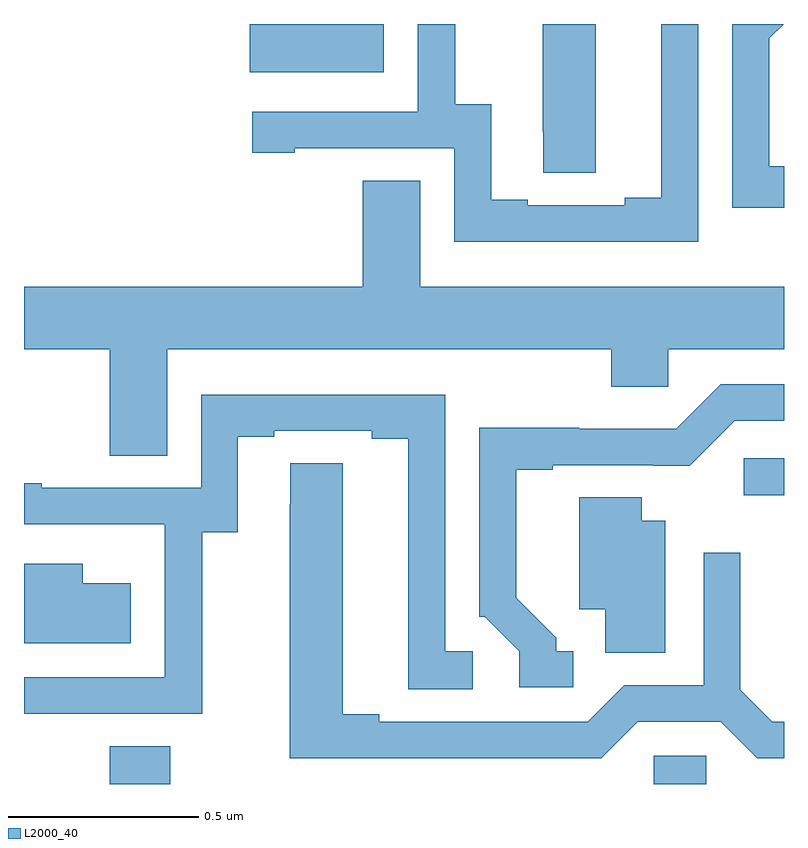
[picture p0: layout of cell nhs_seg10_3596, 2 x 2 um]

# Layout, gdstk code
import gdstk
lib = gdstk.Library(unit=1e-6, precision=1e-09)
def R(c, l, rs):  # rectangles x0, y0, x1, y1
    for r in rs: c.add(gdstk.rectangle(r[:2], r[2:], *l))
def P(c, l, *ps):  # polygons
    for p in ps: c.add(gdstk.Polygon(p, *l))
L2000_40 = (2000, 40)

nhs_seg10_3596 = lib.new_cell('nhs_seg10_3596')
R(nhs_seg10_3596, L2000_40, [(155.225,1304.5,155.385,1304.6), (156.657,1304.5,156.795,1304.574), (156.894,1305.26,157,1305.357), (155.594,1306.373,155.947,1306.5)])
P(nhs_seg10_3596, L2000_40, [(157,1306.126),(156.961,1306.126),(156.961,1306.462),(156.999,1306.5),(156.864,1306.5),(156.864,1306.016),(157,1306.016)],
  [(156.774,1306.5),(156.677,1306.5),(156.677,1306.043),(156.581,1306.043),(156.581,1306.023),(156.325,1306.023),(156.325,1306.038),(156.229,1306.038),(156.229,1306.289),(156.135,1306.289),(156.135,1306.5),(156.036,1306.5),(156.036,1306.269),(155.601,1306.269),(155.601,1306.161),(155.713,1306.161),(155.713,1306.173),(156.132,1306.173),(156.132,1305.927),(156.774,1305.927)],
  [(156.505,1306.5),(156.365,1306.5),(156.365,1306.216),(156.366,1306.216),(156.366,1306.108),(156.505,1306.108)],
  [(155.377,1305.644),(156.545,1305.644),(156.545,1305.546),(156.696,1305.546),(156.696,1305.644),(157,1305.644),(157,1305.808),(156.043,1305.808),(156.043,1306.088),(155.891,1306.088),(155.891,1305.808),(155,1305.808),(155,1305.644),(155.225,1305.644),(155.225,1305.364),(155.377,1305.364)],
  [(156.445,1304.85),(156.4,1304.85),(156.4,1304.885),(156.295,1304.99),(156.295,1305.327),(156.391,1305.327),(156.391,1305.339),(156.656,1305.339),(156.656,1305.338),(156.752,1305.338),(156.87,1305.456),(157,1305.456),(157,1305.552),(156.834,1305.552),(156.717,1305.435),(156.461,1305.435),(156.461,1305.437),(156.198,1305.437),(156.198,1304.94),(156.213,1304.94),(156.303,1304.85),(156.303,1304.754),(156.445,1304.754)],
  [(155.469,1305.163),(155.563,1305.163),(155.563,1305.414),(155.659,1305.414),(155.659,1305.429),(155.915,1305.429),(155.915,1305.409),(156.011,1305.409),(156.011,1304.749),(156.181,1304.749),(156.181,1304.85),(156.108,1304.85),(156.108,1305.525),(155.466,1305.525),(155.466,1305.279),(155.047,1305.279),(155.047,1305.292),(155,1305.292),(155,1305.183),(155.369,1305.183),(155.369,1305.182),(155.37,1305.182),(155.37,1304.781),(155,1304.781),(155,1304.685),(155.469,1304.685)],
  [(156.615,1304.664),(156.833,1304.664),(156.929,1304.568),(157,1304.568),(157,1304.664),(156.969,1304.664),(156.885,1304.748),(156.885,1305.109),(156.789,1305.109),(156.789,1304.76),(156.579,1304.76),(156.483,1304.664),(155.935,1304.664),(155.935,1304.684),(155.839,1304.684),(155.839,1305.344),(155.7,1305.344),(155.7,1305.236),(155.699,1305.236),(155.699,1304.568),(156.519,1304.568)],
  [(156.688,1305.193),(156.625,1305.193),(156.625,1305.254),(156.461,1305.254),(156.461,1304.96),(156.53,1304.96),(156.53,1304.845),(156.688,1304.845)],
  [(155.281,1305.028),(155.155,1305.028),(155.155,1305.079),(155,1305.079),(155,1304.87),(155.281,1304.87)])

lib.write_gds('nhs_seg10_3596.gds')
